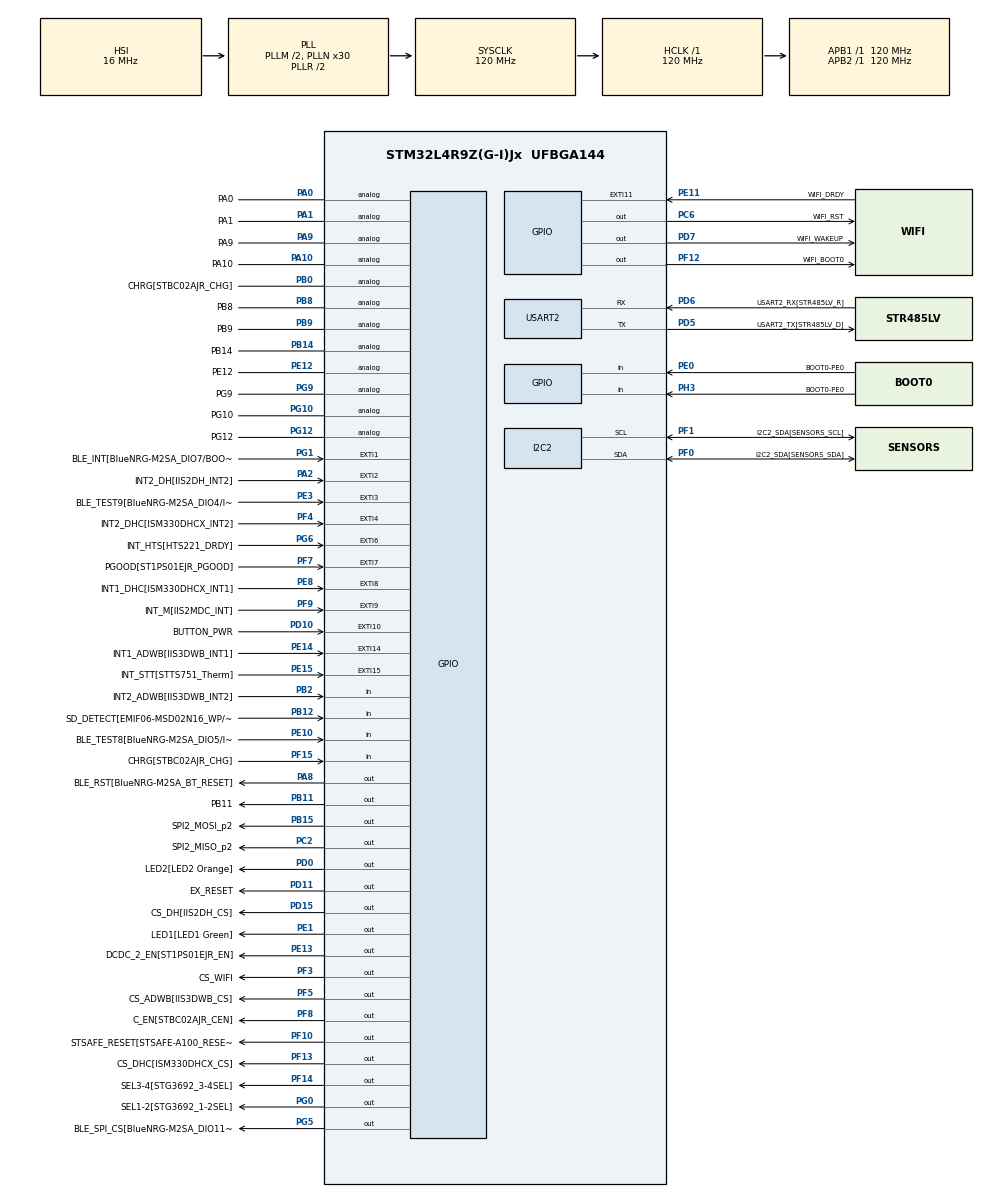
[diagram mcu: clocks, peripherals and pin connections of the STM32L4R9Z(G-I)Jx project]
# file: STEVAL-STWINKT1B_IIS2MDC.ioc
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I2C2.Timing=0x307075B1
Mcu.Family=STM32L4
Mcu.Name=STM32L4R9Z(G-I)Jx
Mcu.Package=UFBGA144
NVIC.EXTI9_5_IRQn=true\:0\:0\:false\:false\:true\:true\:true\:true
NVIC.PriorityGroup=NVIC_PRIORITYGROUP_4
PA0.GPIO_Label=PA0
PA0.Signal=GPIO_Analog
PA1.GPIO_Label=PA1
PA1.Signal=GPIO_Analog
PA10.GPIO_Label=PA10
PA10.Signal=GPIO_Analog
PA11.GPIO_Label=OTG_FS_DM[USBLC6-2P6_D2]
PA11.Signal=USB_OTG_FS_DM
PA12.GPIO_Label=OTG_FS_DP[USBLC6-2P6_D1]
PA12.Signal=USB_OTG_FS_DP
PA13\ (JTMS/SWDIO).GPIO_Label=SWDIO
PA13\ (JTMS/SWDIO).Signal=SYS_JTMS-SWDIO
PA14\ (JTCK/SWCLK).GPIO_Label=SWDCLK
PA14\ (JTCK/SWCLK).Signal=SYS_JTCK-SWCLK
PA15\ (JTDI).GPIO_Label=EX_PWM
PA15\ (JTDI).Signal=S_TIM2_CH1
PA2.GPIO_Label=INT2_DH[IIS2DH_INT2]
PA2.Signal=GPXTI2
PA4.GPIO_Label=DAC1_OUT1
PA4.Signal=COMP_DAC11_group
PA5.GPIO_Label=EX_ADC
PA5.Signal=ADCx_IN10
PA8.GPIO_Label=BLE_RST[BlueNRG-M2SA_BT_RESET]
PA8.Signal=GPIO_Output
PA9.GPIO_Label=PA9
PA9.Signal=GPIO_Analog
PB0.GPIO_Label=CHRG[STBC02AJR_CHG]
PB0.Signal=GPIO_Analog
PB1.GPIO_Label=USART3_RTS[STG3692_3S2]
PB1.Signal=USART3_RTS
PB10.GPIO_Label=DFSDM1_D7
PB10.GPIO_PuPd=GPIO_PULLDOWN
PB10.GPIO_Speed=GPIO_SPEED_FREQ_VERY_HIGH
PB10.Signal=S_DATAIN7DFSDM1
PB11.GPIO_Label=PB11
PB11.Signal=GPIO_Output
PB12.GPIO_Label=SD_DETECT[EMIF06-MSD02N16_WP/CD]
PB12.Signal=GPIO_Input
PB13.GPIO_Label=USART3_CTS
PB13.Signal=USART3_CTS
PB14.GPIO_Label=PB14
PB14.Signal=GPIO_Analog
PB15.GPIO_Label=SPI2_MOSI_p2
PB15.Signal=GPIO_Output
PB2.GPIO_Label=INT2_ADWB[IIS3DWB_INT2]
PB2.Signal=GPIO_Input
PB3\ (JTDO/TRACESWO).GPIO_Label=SPI3_CLK[SENSORS_SCL]
PB3\ (JTDO/TRACESWO).Signal=SPI3_SCK
PB4\ (NJTRST).GPIO_Label=SPI3_MISO[SENSORS_SDO]
PB4\ (NJTRST).Signal=SPI3_MISO
PB5.GPIO_Label=SPI3_MOSI[SENSORS_SDA]
PB5.Signal=SPI3_MOSI
PB6.GPIO_Label=DFSDM1_DATIN5[IMP34DT05_DOUT]
PB6.GPIO_PuPd=GPIO_PULLDOWN
PB6.GPIO_Speed=GPIO_SPEED_FREQ_VERY_HIGH
PB6.Signal=S_DATAIN5DFSDM1
PB8.GPIO_Label=PB8
PB8.Signal=GPIO_Analog
PB9.GPIO_Label=PB9
PB9.Signal=GPIO_Analog
PC0.GPIO_Label=ADC1_IN1[TS922EIJT_OUT2]
PC0.Signal=ADCx_IN1
PC1.GPIO_Label=ADC1_IN2[TS922EIJT_OUT1]
PC1.Signal=ADCx_IN2
PC10.GPIO_Label=SDMMC_D2[EMIF06-MSD02N16_DAT2_In]
PC10.Signal=SDMMC1_D2
PC11.GPIO_Label=SDMMC_D3[EMIF06-MSD02N16_DAT3_In]
PC11.Signal=SDMMC1_D3
PC12.GPIO_Label=SDMMC_CK[EMIF06-MSD02N16_CLK_In]
PC12.Signal=SDMMC1_CK
PC13.GPIO_Label=RTC_TAMP1
PC13.Signal=RTC_TAMP1
PC14-OSC32_IN\ (PC14).GPIO_Label=OSC32_IN
PC14-OSC32_IN\ (PC14).Signal=RCC_OSC32_IN
PC15-OSC32_OUT\ (PC15).GPIO_Label=OSC32_OUT
PC15-OSC32_OUT\ (PC15).Signal=RCC_OSC32_OUT
PC2.GPIO_Label=SPI2_MISO_p2
PC2.Signal=GPIO_Output
PC3.GPIO_Label=SPI2_MOSI[BlueNRG-M2SA_DIO3/SPI_MOSI]
PC3.Signal=SPI2_MOSI
PC4.GPIO_Label=uC_ADC_BATT[STBC02AJR_BATMS]
PC4.Signal=ADCx_IN13
PC5.GPIO_Label=PC5/WKUP5
PC5.Signal=SYS_WKUP5
PC6.GPIO_Label=WIFI_RST
PC6.Signal=GPIO_Output
PC8.GPIO_Label=SDMMC_D0[EMIF06-MSD02N16_DAT0_In]
PC8.Signal=SDMMC1_D0
PC9.GPIO_Label=SDMMC_D1[EMIF06-MSD02N16_DAT1_In]
PC9.Signal=SDMMC1_D1
PD0.GPIO_Label=LED2[LED2 Orange]
PD0.Signal=GPIO_Output
PD1.GPIO_Label=SPI2_CLK[BlueNRG-M2SA_DIO0/SPI_CLK]
PD1.Signal=SPI2_SCK
PD10.GPIO_Label=BUTTON_PWR
PD10.Signal=GPXTI10
PD11.GPIO_Label=EX_RESET 
PD11.Signal=GPIO_Output
PD12.GPIO_Label=I2C4_SCL
PD12.Signal=I2C4_SCL
PD13.GPIO_Label=I2C4_SDA
PD13.Signal=I2C4_SDA
PD15.GPIO_Label=CS_DH[IIS2DH_CS]
PD15.PinState=GPIO_PIN_SET
PD15.Signal=GPIO_Output
PD2.GPIO_Label=SDMMC_CMD[EMIF06-MSD02N16_CMD_In]
PD2.Signal=SDMMC1_CMD
PD3.GPIO_Label=SPI2_MISO[BlueNRG-M2SA_DIO2/SPI_MISO]
PD3.Signal=SPI2_MISO
PD4.GPIO_Label=USART2_RTS[STR485LV_DE]
PD4.Signal=USART2_RTS
PD5.GPIO_Label=USART2_TX[STR485LV_D]
PD5.Mode=Asynchronous
PD5.Signal=USART2_TX
PD6.GPIO_Label=USART2_RX[STR485LV_R]
PD6.Mode=Asynchronous
PD6.Signal=USART2_RX
PD7.GPIO_Label=WIFI_WAKEUP
PD7.Signal=GPIO_Output
PD8.GPIO_Label=USART3_TX[STG3692_1S1]
PD8.Signal=USART3_TX
PD9.GPIO_Label=USART3_RX[STG3692_2S1]
PD9.Signal=USART3_RX
PE0.GPIO_Label=BOOT0-PE0
PE0.Signal=GPIO_Input
PE1.GPIO_Label=LED1[LED1 Green]
PE1.Signal=GPIO_Output
PE10.GPIO_Label=BLE_TEST8[BlueNRG-M2SA_DIO5/I2C_SDA]
PE10.Signal=GPIO_Input
PE11.GPIO_Label=WIFI_DRDY
PE11.Signal=GPXTI11
PE12.GPIO_Label=PE12
PE12.Signal=GPIO_Analog
PE13.GPIO_Label=DCDC_2_EN[ST1PS01EJR_EN]
PE13.Signal=GPIO_Output
PE14.GPIO_Label=INT1_ADWB[IIS3DWB_INT1]
PE14.Signal=GPXTI14
PE15.GPIO_Label=INT_STT[STTS751_Therm]
PE15.Signal=GPXTI15
PE2.GPIO_Label=SAI1_MCLK_A
PE2.Signal=SAI1_MCLK_A
PE3.GPIO_Label=BLE_TEST9[BlueNRG-M2SA_DIO4/I2C_CLK]
PE3.Signal=GPXTI3
PE4.GPIO_Label=SAI1_FS_A/DFSDM_D3
PE4.Signal=SAI1_FS_A
PE5.GPIO_Label=SAI1_SCK_A
PE5.Signal=SAI1_SCK_A
PE6.GPIO_Label=SAI1_SD_A
PE6.Signal=SAI1_SD_A
PE7.GPIO_Label=SAI1_SD_B
PE7.Signal=SAI1_SD_B
PE8.GPIO_Label=INT1_DHC[ISM330DHCX_INT1]
PE8.Signal=GPXTI8
PE9.GPIO_Label=DFSDM1_CKOUT[IMP34DT05_CLK]
PE9.GPIO_PuPd=GPIO_PULLDOWN
PE9.GPIO_Speed=GPIO_SPEED_FREQ_VERY_HIGH
PE9.Signal=S_CKOUTDFSDM1
PF0.GPIO_Label=I2C2_SDA[SENSORS_SDA]
PF0.Mode=I2C
PF0.Signal=I2C2_SDA
PF1.GPIO_Label=I2C2_SDA[SENSORS_SCL]
PF1.Mode=I2C
PF1.Signal=I2C2_SCL
PF10.GPIO_Label=STSAFE_RESET[STSAFE-A100_RESET]
PF10.Signal=GPIO_Output
PF12.GPIO_Label=WIFI_BOOT0
PF12.Signal=GPIO_Output
PF13.GPIO_Label=CS_DHC[ISM330DHCX_CS]
PF13.GPIO_Speed=GPIO_SPEED_FREQ_HIGH
PF13.PinState=GPIO_PIN_SET
PF13.Signal=GPIO_Output
PF14.GPIO_Label=SEL3-4[STG3692_3-4SEL]
PF14.Signal=GPIO_Output
PF15.GPIO_Label=CHRG[STBC02AJR_CHG]
PF15.Signal=GPIO_Input
PF2.GPIO_Label=I2C2_SMBA[STTS751_EV]
PF2.Signal=I2C2_SMBA
PF3.GPIO_Label=CS_WIFI
PF3.PinState=GPIO_PIN_SET
PF3.Signal=GPIO_Output
PF4.GPIO_Label=INT2_DHC[ISM330DHCX_INT2]
PF4.Signal=GPXTI4
PF5.GPIO_Label=CS_ADWB[IIS3DWB_CS]
PF5.PinState=GPIO_PIN_SET
PF5.Signal=GPIO_Output
PF6.GPIO_Label=SW_SEL[STBC02AJR_SW_SEL]
PF6.GPIO_Speed=GPIO_SPEED_FREQ_HIGH
PF6.Signal=S_TIM5_CH1
PF7.GPIO_Label=PGOOD[ST1PS01EJR_PGOOD]
PF7.Signal=GPXTI7
PF8.GPIO_Label=C_EN[STBC02AJR_CEN]
PF8.Signal=GPIO_Output
PF9.GPIO_Label=INT_M[IIS2MDC_INT]
PF9.Signal=GPXTI9
PG0.GPIO_Label=SEL1-2[STG3692_1-2SEL]
PG0.Signal=GPIO_Output
PG1.GPIO_Label=BLE_INT[BlueNRG-M2SA_DIO7/BOOT/UART_CTS]
PG1.Signal=GPXTI1
PG10.GPIO_Label=PG10
PG10.Signal=GPIO_Analog
PG12.GPIO_Label=PG12
PG12.Signal=GPIO_Analog
PG2.GPIO_Label=SPI1_CLK
PG2.Signal=SPI1_SCK
PG3.GPIO_Label=SPI1_MISO
PG3.Signal=SPI1_MISO
PG4.GPIO_Label=SPI1_MOSI
PG4.Signal=SPI1_MOSI
PG5.GPIO_Label=BLE_SPI_CS[BlueNRG-M2SA_DIO11/UART_RXD]
PG5.Signal=GPIO_Output
PG6.GPIO_Label=INT_HTS[HTS221_DRDY]
PG6.Signal=GPXTI6
PG7.GPIO_Label=I2C3_SCL[STSAFE-A110_SCL]
PG7.Signal=I2C3_SCL
PG8.GPIO_Label=I2C3_SDA[STSAFE-A110_SDA]
PG8.Signal=I2C3_SDA
PG9.GPIO_Label=PG9
PG9.Signal=GPIO_Analog
PH0-OSC_IN\ (PH0).GPIO_Label=OSC_IN
PH0-OSC_IN\ (PH0).Signal=RCC_OSC_IN
PH1-OSC_OUT\ (PH1).GPIO_Label=OSC_OUT
PH1-OSC_OUT\ (PH1).Signal=RCC_OSC_OUT
PH3-BOOT0.GPIO_Label=BOOT0-PE0
PH3-BOOT0.Signal=GPIO_Input
ProjectManager.HeapSize=0x200
ProjectManager.StackSize=0x400
ProjectManager.TargetToolchain=Makefile
RCC.ADCFreq_Value=76800000
RCC.AHBFreq_Value=120000000
RCC.APB1Freq_Value=120000000
RCC.APB1TimFreq_Value=120000000
RCC.APB2Freq_Value=120000000
RCC.APB2TimFreq_Value=120000000
RCC.CK48CLockSelection=RCC_USBCLKSOURCE_HSI48
RCC.CortexFreq_Value=120000000
RCC.DSITX_Div=1
RCC.HCLKFreq_Value=120000000
RCC.HSE_VALUE=16000000
RCC.HSI48_VALUE=48000000
RCC.HSI_VALUE=16000000
RCC.LSE_VALUE=32768
RCC.MSI_VALUE=4000000
RCC.PLLDSIODF=DSI_PLL_OUT_DIV2
RCC.PLLM1=2
RCC.PLLM2=5
RCC.PLLM3=2
RCC.PLLN=30
RCC.PLLSAI1N=96
RCC.PLLSAI1P=RCC_PLLP_DIV25
RCC.PLLSAI1Q=RCC_PLLQ_DIV4
RCC.PLLSAI1R=RCC_PLLR_DIV4
RCC.PLLSourceVirtual=RCC_PLLSOURCE_HSI
RCC.RTCClockSelection=RCC_RTCCLKSOURCE_LSE
RCC.SDMMCClockSelection=RCC_SDIOCLKSOURCE_CLK48
RCC.SYSCLKFreq_VALUE=120000000
RCC.SYSCLKSource=RCC_SYSCLKSOURCE_PLLCLK
RCC.USBFreq_Value=48000000
RCC.VCOOutputFreq_Value=240000000
SH.ADCx_IN1.0=ADC1_IN1
SH.ADCx_IN10.0=ADC1_IN10
SH.ADCx_IN13.0=ADC1_IN13
SH.ADCx_IN2.0=ADC1_IN2
SH.COMP_DAC11_group.0=DAC1_OUT1
SH.S_CKOUTDFSDM1.0=DFSDM1_CKOUT
SH.S_DATAIN5DFSDM1.0=DFSDM1_DATIN5
SH.S_DATAIN7DFSDM1.0=DFSDM1_DATIN7
SH.S_TIM2_CH1.0=TIM2_CH1
SH.S_TIM5_CH1.0=TIM5_CH1
USART2.VirtualMode-Asynchronous=VM_ASYNC
board=STEVAL-STWINKT1B

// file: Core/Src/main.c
/* USER CODE BEGIN Header */
/**
  ******************************************************************************
  * @file           : main.c
  * @brief          : Main program body
  ******************************************************************************
  * @attention
  *
  * Copyright (c) 2022 STMicroelectronics.
  * All rights reserved.
  *
  * This software is licensed under terms that can be found in the LICENSE file
  * in the root directory of this software component.
  * If no LICENSE file comes with this software, it is provided AS-IS.
  *
  ******************************************************************************
  */
/* USER CODE END Header */
#include "main.h"

/* USER CODE BEGIN Includes */
#include <string.h>
#include <stdio.h>
#include <iis2mdc_reg.h>
#include <cycle_dwt.h>
#include "NanoEdgeAI.h"

/* USER CODE END Includes */

/* USER CODE BEGIN PD */
/************************************************************ NEAI algorithm defines begin ************************************************************/
/************************************************************ Global settings part ************************************************************/
#ifndef AXIS
  #define AXIS              3                   /* Axis should be defined between 1 and 3 */
#endif
#ifndef SAMPLES
  #define SAMPLES           128                 /* Should be between 16 & 4096 */
#endif
/************************************************************ Sensors configuration part ************************************************************/
#ifndef MAGNETOMETER_ODR
  #define MAGNETOMETER_ODR  IIS2MDC_ODR_100Hz   /* Shoud be between IIS2MDC_ODR_10Hz and IIS2MDC_ODR_100Hz */
#endif
/************************************************************ Datalogger / NEAI mode part ************************************************************/
#ifndef NEAI_MODE
  #define NEAI_MODE         0                   /* 0: Datalogger mode, 1: NEAI functions mode */
#endif
#if (NEAI_MODE == 1)
  #ifndef NEAI_LEARN_NB
    #define NEAI_LEARN_NB   20                  /* Number of buffers to be learn by the NEAI library */
  #endif
#endif
/************************************************************ NEAI algorithm defines end ************************************************************/
/* USER CODE END PD */

 I2C_HandleTypeDef hi2c2;

UART_HandleTypeDef huart2;

/* USER CODE BEGIN PV */
static int16_t data_raw_magnetic[3];
static uint8_t whoamI, rst;
uint8_t neai_similarity = 0, neai_state = 0;
volatile uint8_t drdy = 0;
uint16_t neai_cnt = 0, drdy_counter = 0;
float neai_time = 0.0;
float neai_buffer[AXIS * SAMPLES] = {0};
stmdev_ctx_t dev_ctx;

/* USER CODE END PV */

void SystemClock_Config(void);
static void MX_GPIO_Init(void);
static void MX_USART2_UART_Init(void);
static void MX_I2C2_Init(void);
/* USER CODE BEGIN PFP */
static int32_t platform_write(void *handle, uint8_t reg, const uint8_t *bufp, uint16_t len);
static int32_t platform_read(void *handle, uint8_t reg, uint8_t *bufp, uint16_t len);
static void iis2mdc_initialize(void);

/* USER CODE END PFP */

int main(void)
{
  /* USER CODE BEGIN 1 */
  /* Initialize mems driver interface */
  dev_ctx.write_reg = platform_write;
  dev_ctx.read_reg = platform_read;
  dev_ctx.handle = &hi2c2;
  /* USER CODE END 1 */

  /* MCU Configuration--------------------------------------------------------*/

  /* Reset of all peripherals, Initializes the Flash interface and the Systick. */
  HAL_Init();

  /* Configure the system clock */
  SystemClock_Config();

  /* Initialize all configured peripherals */
  MX_GPIO_Init();
  MX_USART2_UART_Init();
  MX_I2C2_Init();
  /* USER CODE BEGIN 2 */
  KIN1_InitCycleCounter();
  KIN1_EnableCycleCounter();
  iis2mdc_initialize();
  if (NEAI_MODE) {
    neai_state = neai_anomalydetection_init();
    printf("Initialize NEAI library. NEAI init return: %d.\n",  neai_state);
  }
  /* USER CODE END 2 */

  /* Infinite loop */
  /* USER CODE BEGIN WHILE */
  while (1)
  {
    if (drdy) {
      /* Reset data ready condition */
      drdy = 0;
      /* Read magnetic field data */
      memset(data_raw_magnetic, 0x00, 3 * sizeof(int16_t));
      iis2mdc_magnetic_raw_get(&dev_ctx, data_raw_magnetic);
      for (uint8_t i = 0; i < AXIS; i++) {
        neai_buffer[(AXIS * drdy_counter) + i] = iis2mdc_from_lsb_to_mgauss(data_raw_magnetic[i]);
      }
      drdy_counter++;
      if (drdy_counter >= SAMPLES) {
        /* Set device in power down mode */
        iis2mdc_operating_mode_set(&dev_ctx, IIS2MDC_POWER_DOWN);
#if NEAI_MODE
        uint32_t cycles_cnt = 0;
        if (neai_cnt < NEAI_LEARN_NB) {
          neai_cnt++;
          KIN1_ResetCycleCounter();
          neai_state = neai_anomalydetection_learn(neai_buffer);
          cycles_cnt = KIN1_GetCycleCounter();
          neai_time = (cycles_cnt * 1000000.0) / HAL_RCC_GetSysClockFreq();
          printf("Learn: %d / %d. NEAI learn return: %d. Cycles counter: %ld = %.1f µs at %ld Hz.\n",
                neai_cnt, NEAI_LEARN_NB, neai_state, cycles_cnt, neai_time, HAL_RCC_GetSysClockFreq());
        }
        else {
          KIN1_ResetCycleCounter();
          neai_state = neai_anomalydetection_detect(neai_buffer, &neai_similarity);
          cycles_cnt = KIN1_GetCycleCounter();
          neai_time = (cycles_cnt * 1000000.0) / HAL_RCC_GetSysClockFreq();
          printf("Similarity: %d / 100. NEAI detect return: %d. Cycles counter: %ld = %.1f µs at %ld Hz.\n",
                neai_similarity, neai_state, cycles_cnt, neai_time, HAL_RCC_GetSysClockFreq());
        }
#else
        for (uint16_t i = 0; i < AXIS * SAMPLES; i++) {
          printf("%.3f ", neai_buffer[i]);
        }
        printf("\n");
#endif
        /* Reset drdy_counter in order to get a new buffer */
        drdy_counter = 0;
        /* Clean neai buffer */
        memset(neai_buffer, 0x00, AXIS * SAMPLES * sizeof(float));
        /* Set device in continuous mode */
        iis2mdc_operating_mode_set(&dev_ctx, IIS2MDC_CONTINUOUS_MODE);
        HAL_Delay(20);
      }
    }
    /* USER CODE END WHILE */

  }
}

void SystemClock_Config(void)
{
  RCC_OscInitTypeDef RCC_OscInitStruct = {0};
  RCC_ClkInitTypeDef RCC_ClkInitStruct = {0};

  /** Configure the main internal regulator output voltage
  */
  if (HAL_PWREx_ControlVoltageScaling(PWR_REGULATOR_VOLTAGE_SCALE1_BOOST) != HAL_OK)
  {
    Error_Handler();
  }

  /** Initializes the RCC Oscillators according to the specified parameters
  * in the RCC_OscInitTypeDef structure.
  */
  RCC_OscInitStruct.OscillatorType = RCC_OSCILLATORTYPE_HSI;
  RCC_OscInitStruct.HSIState = RCC_HSI_ON;
  RCC_OscInitStruct.HSICalibrationValue = RCC_HSICALIBRATION_DEFAULT;
  RCC_OscInitStruct.PLL.PLLState = RCC_PLL_ON;
  RCC_OscInitStruct.PLL.PLLSource = RCC_PLLSOURCE_HSI;
  RCC_OscInitStruct.PLL.PLLM = 2;
  RCC_OscInitStruct.PLL.PLLN = 30;
  RCC_OscInitStruct.PLL.PLLP = RCC_PLLP_DIV2;
  RCC_OscInitStruct.PLL.PLLQ = RCC_PLLQ_DIV2;
  RCC_OscInitStruct.PLL.PLLR = RCC_PLLR_DIV2;
  if (HAL_RCC_OscConfig(&RCC_OscInitStruct) != HAL_OK)
  {
    Error_Handler();
  }

  /** Initializes the CPU, AHB and APB buses clocks
  */
  RCC_ClkInitStruct.ClockType = RCC_CLOCKTYPE_HCLK|RCC_CLOCKTYPE_SYSCLK
                              |RCC_CLOCKTYPE_PCLK1|RCC_CLOCKTYPE_PCLK2;
  RCC_ClkInitStruct.SYSCLKSource = RCC_SYSCLKSOURCE_PLLCLK;
  RCC_ClkInitStruct.AHBCLKDivider = RCC_SYSCLK_DIV1;
  RCC_ClkInitStruct.APB1CLKDivider = RCC_HCLK_DIV1;
  RCC_ClkInitStruct.APB2CLKDivider = RCC_HCLK_DIV1;

  if (HAL_RCC_ClockConfig(&RCC_ClkInitStruct, FLASH_LATENCY_5) != HAL_OK)
  {
    Error_Handler();
  }
}

static void MX_I2C2_Init(void)
{

  hi2c2.Instance = I2C2;
  hi2c2.Init.Timing = 0x307075B1;
  hi2c2.Init.OwnAddress1 = 0;
  hi2c2.Init.AddressingMode = I2C_ADDRESSINGMODE_7BIT;
  hi2c2.Init.DualAddressMode = I2C_DUALADDRESS_DISABLE;
  hi2c2.Init.OwnAddress2 = 0;
  hi2c2.Init.OwnAddress2Masks = I2C_OA2_NOMASK;
  hi2c2.Init.GeneralCallMode = I2C_GENERALCALL_DISABLE;
  hi2c2.Init.NoStretchMode = I2C_NOSTRETCH_DISABLE;
  if (HAL_I2C_Init(&hi2c2) != HAL_OK)
  {
    Error_Handler();
  }

  /** Configure Analogue filter
  */
  if (HAL_I2CEx_ConfigAnalogFilter(&hi2c2, I2C_ANALOGFILTER_ENABLE) != HAL_OK)
  {
    Error_Handler();
  }

  /** Configure Digital filter
  */
  if (HAL_I2CEx_ConfigDigitalFilter(&hi2c2, 0) != HAL_OK)
  {
    Error_Handler();
  }

}

static void MX_USART2_UART_Init(void)
{

  huart2.Instance = USART2;
  huart2.Init.BaudRate = 115200;
  huart2.Init.WordLength = UART_WORDLENGTH_8B;
  huart2.Init.StopBits = UART_STOPBITS_1;
  huart2.Init.Parity = UART_PARITY_NONE;
  huart2.Init.Mode = UART_MODE_TX_RX;
  huart2.Init.HwFlowCtl = UART_HWCONTROL_NONE;
  huart2.Init.OverSampling = UART_OVERSAMPLING_16;
  huart2.Init.OneBitSampling = UART_ONE_BIT_SAMPLE_DISABLE;
  huart2.Init.ClockPrescaler = UART_PRESCALER_DIV1;
  huart2.AdvancedInit.AdvFeatureInit = UART_ADVFEATURE_NO_INIT;
  if (HAL_UART_Init(&huart2) != HAL_OK)
  {
    Error_Handler();
  }
  if (HAL_UARTEx_SetTxFifoThreshold(&huart2, UART_TXFIFO_THRESHOLD_1_8) != HAL_OK)
  {
    Error_Handler();
  }
  if (HAL_UARTEx_SetRxFifoThreshold(&huart2, UART_RXFIFO_THRESHOLD_1_8) != HAL_OK)
  {
    Error_Handler();
  }
  if (HAL_UARTEx_DisableFifoMode(&huart2) != HAL_OK)
  {
    Error_Handler();
  }

}

static void MX_GPIO_Init(void)
{
  GPIO_InitTypeDef GPIO_InitStruct = {0};

  /* GPIO Ports Clock Enable */
  __HAL_RCC_GPIOE_CLK_ENABLE();
  __HAL_RCC_GPIOB_CLK_ENABLE();
  __HAL_RCC_GPIOH_CLK_ENABLE();
  __HAL_RCC_GPIOD_CLK_ENABLE();
  __HAL_RCC_GPIOC_CLK_ENABLE();
  __HAL_RCC_GPIOA_CLK_ENABLE();
  __HAL_RCC_GPIOG_CLK_ENABLE();
  HAL_PWREx_EnableVddIO2();
  __HAL_RCC_GPIOF_CLK_ENABLE();

  /*Configure GPIO pin Output Level */
  HAL_GPIO_WritePin(GPIOE, LED1_Pin|DCDC_2_EN_Pin, GPIO_PIN_RESET);

  /*Configure GPIO pin Output Level */
  HAL_GPIO_WritePin(GPIOD, LED2_Pin|WIFI_WAKEUP_Pin|EX_RESET_Pin, GPIO_PIN_RESET);

  /*Configure GPIO pin Output Level */
  HAL_GPIO_WritePin(BLE_RST_GPIO_Port, BLE_RST_Pin, GPIO_PIN_RESET);

  /*Configure GPIO pin Output Level */
  HAL_GPIO_WritePin(GPIOC, WIFI_RST_Pin|SPI2_MISO_p2_Pin, GPIO_PIN_RESET);

  /*Configure GPIO pin Output Level */
  HAL_GPIO_WritePin(GPIOF, CS_WIFI_Pin|CS_ADWB_Pin|CS_DHC_Pin, GPIO_PIN_SET);

  /*Configure GPIO pin Output Level */
  HAL_GPIO_WritePin(GPIOF, C_EN_Pin|STSAFE_RESET_Pin|WIFI_BOOT0_Pin|SEL3_4_Pin, GPIO_PIN_RESET);

  /*Configure GPIO pin Output Level */
  HAL_GPIO_WritePin(GPIOG, BLE_SPI_CS_Pin|SEL1_2_Pin, GPIO_PIN_RESET);

  /*Configure GPIO pin Output Level */
  HAL_GPIO_WritePin(CS_DH_GPIO_Port, CS_DH_Pin, GPIO_PIN_SET);

  /*Configure GPIO pin Output Level */
  HAL_GPIO_WritePin(GPIOB, SPI2_MOSI_p2_Pin|PB11_Pin, GPIO_PIN_RESET);

  /*Configure GPIO pins : BOOT0_PE0_Pin BLE_TEST8_Pin */
  GPIO_InitStruct.Pin = BOOT0_PE0_Pin|BLE_TEST8_Pin;
  GPIO_InitStruct.Mode = GPIO_MODE_INPUT;
  GPIO_InitStruct.Pull = GPIO_NOPULL;
  HAL_GPIO_Init(GPIOE, &GPIO_InitStruct);

  /*Configure GPIO pins : PB9_Pin PB8_Pin PB14_Pin CHRGB0_Pin */
  GPIO_InitStruct.Pin = PB9_Pin|PB8_Pin|PB14_Pin|CHRGB0_Pin;
  GPIO_InitStruct.Mode = GPIO_MODE_ANALOG;
  GPIO_InitStruct.Pull = GPIO_NOPULL;
  HAL_GPIO_Init(GPIOB, &GPIO_InitStruct);

  /*Configure GPIO pin : BOOT0_PE0H3_Pin */
  GPIO_InitStruct.Pin = BOOT0_PE0H3_Pin;
  GPIO_InitStruct.Mode = GPIO_MODE_INPUT;
  GPIO_InitStruct.Pull = GPIO_NOPULL;
  HAL_GPIO_Init(BOOT0_PE0H3_GPIO_Port, &GPIO_InitStruct);

  /*Configure GPIO pins : SPI3_MISO_Pin SPI3_MOSI_Pin SPI3_CLK_Pin */
  GPIO_InitStruct.Pin = SPI3_MISO_Pin|SPI3_MOSI_Pin|SPI3_CLK_Pin;
  GPIO_InitStruct.Mode = GPIO_MODE_AF_PP;
  GPIO_InitStruct.Pull = GPIO_NOPULL;
  GPIO_InitStruct.Speed = GPIO_SPEED_FREQ_VERY_HIGH;
  GPIO_InitStruct.Alternate = GPIO_AF6_SPI3;
  HAL_GPIO_Init(GPIOB, &GPIO_InitStruct);

  /*Configure GPIO pins : SPI2_MISO_Pin SPI2_CLK_Pin */
  GPIO_InitStruct.Pin = SPI2_MISO_Pin|SPI2_CLK_Pin;
  GPIO_InitStruct.Mode = GPIO_MODE_AF_PP;
  GPIO_InitStruct.Pull = GPIO_NOPULL;
  GPIO_InitStruct.Speed = GPIO_SPEED_FREQ_VERY_HIGH;
  GPIO_InitStruct.Alternate = GPIO_AF5_SPI2;
  HAL_GPIO_Init(GPIOD, &GPIO_InitStruct);

  /*Configure GPIO pins : SDMMC_D3_Pin SDMMC_D2_Pin SDMMC_D1_Pin SDMMC_CK_Pin
                           SDMMC_D0_Pin */
  GPIO_InitStruct.Pin = SDMMC_D3_Pin|SDMMC_D2_Pin|SDMMC_D1_Pin|SDMMC_CK_Pin
                          |SDMMC_D0_Pin;
  GPIO_InitStruct.Mode = GPIO_MODE_AF_PP;
  GPIO_InitStruct.Pull = GPIO_NOPULL;
  GPIO_InitStruct.Speed = GPIO_SPEED_FREQ_VERY_HIGH;
  GPIO_InitStruct.Alternate = GPIO_AF12_SDMMC1;
  HAL_GPIO_Init(GPIOC, &GPIO_InitStruct);

  /*Configure GPIO pins : BLE_TEST9_Pin WIFI_DRDY_Pin INT1_DHC_Pin INT_STT_Pin
                           INT1_ADWB_Pin */
  GPIO_InitStruct.Pin = BLE_TEST9_Pin|WIFI_DRDY_Pin|INT1_DHC_Pin|INT_STT_Pin
                          |INT1_ADWB_Pin;
  GPIO_InitStruct.Mode = GPIO_MODE_IT_RISING;
  GPIO_InitStruct.Pull = GPIO_NOPULL;
  HAL_GPIO_Init(GPIOE, &GPIO_InitStruct);

  /*Configure GPIO pin : EX_PWM_Pin */
  GPIO_InitStruct.Pin = EX_PWM_Pin;
  GPIO_InitStruct.Mode = GPIO_MODE_AF_PP;
  GPIO_InitStruct.Pull = GPIO_NOPULL;
  GPIO_InitStruct.Speed = GPIO_SPEED_FREQ_LOW;
  GPIO_InitStruct.Alternate = GPIO_AF1_TIM2;
  HAL_GPIO_Init(EX_PWM_GPIO_Port, &GPIO_InitStruct);

  /*Configure GPIO pins : OTG_FS_DP_Pin OTG_FS_DM_Pin */
  GPIO_InitStruct.Pin = OTG_FS_DP_Pin|OTG_FS_DM_Pin;
  GPIO_InitStruct.Mode = GPIO_MODE_AF_PP;
  GPIO_InitStruct.Pull = GPIO_NOPULL;
  GPIO_InitStruct.Speed = GPIO_SPEED_FREQ_VERY_HIGH;
  GPIO_InitStruct.Alternate = GPIO_AF10_OTG_FS;
  HAL_GPIO_Init(GPIOA, &GPIO_InitStruct);

  /*Configure GPIO pins : SAI1_SCK_A_Pin SAI1_MCLK_A_Pin SAI1_FS_A_DFSDM_D3_Pin SAI1_SD_A_Pin
                           SAI1_SD_B_Pin */
  GPIO_InitStruct.Pin = SAI1_SCK_A_Pin|SAI1_MCLK_A_Pin|SAI1_FS_A_DFSDM_D3_Pin|SAI1_SD_A_Pin
                          |SAI1_SD_B_Pin;
  GPIO_InitStruct.Mode = GPIO_MODE_AF_PP;
  GPIO_InitStruct.Pull = GPIO_NOPULL;
  GPIO_InitStruct.Speed = GPIO_SPEED_FREQ_LOW;
  GPIO_InitStruct.Alternate = GPIO_AF13_SAI1;
  HAL_GPIO_Init(GPIOE, &GPIO_InitStruct);

  /*Configure GPIO pins : LED1_Pin DCDC_2_EN_Pin */
  GPIO_InitStruct.Pin = LED1_Pin|DCDC_2_EN_Pin;
  GPIO_InitStruct.Mode = GPIO_MODE_OUTPUT_PP;
  GPIO_InitStruct.Pull = GPIO_NOPULL;
  GPIO_InitStruct.Speed = GPIO_SPEED_FREQ_LOW;
  HAL_GPIO_Init(GPIOE, &GPIO_InitStruct);

  /*Configure GPIO pins : LED2_Pin WIFI_WAKEUP_Pin CS_DH_Pin EX_RESET_Pin */
  GPIO_InitStruct.Pin = LED2_Pin|WIFI_WAKEUP_Pin|CS_DH_Pin|EX_RESET_Pin;
  GPIO_InitStruct.Mode = GPIO_MODE_OUTPUT_PP;
  GPIO_InitStruct.Pull = GPIO_NOPULL;
  GPIO_InitStruct.Speed = GPIO_SPEED_FREQ_LOW;
  HAL_GPIO_Init(GPIOD, &GPIO_InitStruct);

  /*Configure GPIO pins : PA10_Pin PA9_Pin PA0_Pin DAC1_OUT1_Pin
                           PA1_Pin */
  GPIO_InitStruct.Pin = PA10_Pin|PA9_Pin|PA0_Pin|DAC1_OUT1_Pin
                          |PA1_Pin;
  GPIO_InitStruct.Mode = GPIO_MODE_ANALOG;
  GPIO_InitStruct.Pull = GPIO_NOPULL;
  HAL_GPIO_Init(GPIOA, &GPIO_InitStruct);

  /*Configure GPIO pins : DFSDM1_DATIN5_Pin DFSDM1_D7_Pin */
  GPIO_InitStruct.Pin = DFSDM1_DATIN5_Pin|DFSDM1_D7_Pin;
  GPIO_InitStruct.Mode = GPIO_MODE_AF_PP;
  GPIO_InitStruct.Pull = GPIO_PULLDOWN;
  GPIO_InitStruct.Speed = GPIO_SPEED_FREQ_VERY_HIGH;
  GPIO_InitStruct.Alternate = GPIO_AF6_DFSDM1;
  HAL_GPIO_Init(GPIOB, &GPIO_InitStruct);

  /*Configure GPIO pins : PG12_Pin PG10_Pin PG9_Pin */
  GPIO_InitStruct.Pin = PG12_Pin|PG10_Pin|PG9_Pin;
  GPIO_InitStruct.Mode = GPIO_MODE_ANALOG;
  GPIO_InitStruct.Pull = GPIO_NOPULL;
  HAL_GPIO_Init(GPIOG, &GPIO_InitStruct);

  /*Configure GPIO pin : SDMMC_CMD_Pin */
  GPIO_InitStruct.Pin = SDMMC_CMD_Pin;
  GPIO_InitStruct.Mode = GPIO_MODE_AF_PP;
  GPIO_InitStruct.Pull = GPIO_NOPULL;
  GPIO_InitStruct.Speed = GPIO_SPEED_FREQ_VERY_HIGH;
  GPIO_InitStruct.Alternate = GPIO_AF12_SDMMC1;
  HAL_GPIO_Init(SDMMC_CMD_GPIO_Port, &GPIO_InitStruct);

  /*Configure GPIO pin : BLE_RST_Pin */
  GPIO_InitStruct.Pin = BLE_RST_Pin;
  GPIO_InitStruct.Mode = GPIO_MODE_OUTPUT_PP;
  GPIO_InitStruct.Pull = GPIO_NOPULL;
  GPIO_InitStruct.Speed = GPIO_SPEED_FREQ_LOW;
  HAL_GPIO_Init(BLE_RST_GPIO_Port, &GPIO_InitStruct);

  /*Configure GPIO pins : WIFI_RST_Pin SPI2_MISO_p2_Pin */
  GPIO_InitStruct.Pin = WIFI_RST_Pin|SPI2_MISO_p2_Pin;
  GPIO_InitStruct.Mode = GPIO_MODE_OUTPUT_PP;
  GPIO_InitStruct.Pull = GPIO_NOPULL;
  GPIO_InitStruct.Speed = GPIO_SPEED_FREQ_LOW;
  HAL_GPIO_Init(GPIOC, &GPIO_InitStruct);

  /*Configure GPIO pins : CS_WIFI_Pin C_EN_Pin CS_ADWB_Pin STSAFE_RESET_Pin
                           WIFI_BOOT0_Pin SEL3_4_Pin */
  GPIO_InitStruct.Pin = CS_WIFI_Pin|C_EN_Pin|CS_ADWB_Pin|STSAFE_RESET_Pin
                          |WIFI_BOOT0_Pin|SEL3_4_Pin;
  GPIO_InitStruct.Mode = GPIO_MODE_OUTPUT_PP;
  GPIO_InitStruct.Pull = GPIO_NOPULL;
  GPIO_InitStruct.Speed = GPIO_SPEED_FREQ_LOW;
  HAL_GPIO_Init(GPIOF, &GPIO_InitStruct);

  /*Configure GPIO pins : I2C3_SDA_Pin I2C3_SCL_Pin */
  GPIO_InitStruct.Pin = I2C3_SDA_Pin|I2C3_SCL_Pin;
  GPIO_InitStruct.Mode = GPIO_MODE_AF_OD;
  GPIO_InitStruct.Pull = GPIO_NOPULL;
  GPIO_InitStruct.Speed = GPIO_SPEED_FREQ_VERY_HIGH;
  GPIO_InitStruct.Alternate = GPIO_AF4_I2C3;
  HAL_GPIO_Init(GPIOG, &GPIO_InitStruct);

  /*Configure GPIO pin : SW_SEL_Pin */
  GPIO_InitStruct.Pin = SW_SEL_Pin;
  GPIO_InitStruct.Mode = GPIO_MODE_AF_PP;
  GPIO_InitStruct.Pull = GPIO_NOPULL;
  GPIO_InitStruct.Speed = GPIO_SPEED_FREQ_HIGH;
  GPIO_InitStruct.Alternate = GPIO_AF2_TIM5;
  HAL_GPIO_Init(SW_SEL_GPIO_Port, &GPIO_InitStruct);

  /*Configure GPIO pins : INT2_DHC_Pin PGOOD_Pin INT_M_Pin */
  GPIO_InitStruct.Pin = INT2_DHC_Pin|PGOOD_Pin|INT_M_Pin;
  GPIO_InitStruct.Mode = GPIO_MODE_IT_RISING;
  GPIO_InitStruct.Pull = GPIO_NOPULL;
  HAL_GPIO_Init(GPIOF, &GPIO_InitStruct);

  /*Configure GPIO pins : SPI1_MISO_Pin SPI1_MOSI_Pin SPI1_CLK_Pin */
  GPIO_InitStruct.Pin = SPI1_MISO_Pin|SPI1_MOSI_Pin|SPI1_CLK_Pin;
  GPIO_InitStruct.Mode = GPIO_MODE_AF_PP;
  GPIO_InitStruct.Pull = GPIO_NOPULL;
  GPIO_InitStruct.Speed = GPIO_SPEED_FREQ_VERY_HIGH;
  GPIO_InitStruct.Alternate = GPIO_AF5_SPI1;
  HAL_GPIO_Init(GPIOG, &GPIO_InitStruct);

  /*Configure GPIO pins : BLE_SPI_CS_Pin SEL1_2_Pin */
  GPIO_InitStruct.Pin = BLE_SPI_CS_Pin|SEL1_2_Pin;
  GPIO_InitStruct.Mode = GPIO_MODE_OUTPUT_PP;
  GPIO_InitStruct.Pull = GPIO_NOPULL;
  GPIO_InitStruct.Speed = GPIO_SPEED_FREQ_LOW;
  HAL_GPIO_Init(GPIOG, &GPIO_InitStruct);

  /*Configure GPIO pins : INT_HTS_Pin BLE_INT_Pin */
  GPIO_InitStruct.Pin = INT_HTS_Pin|BLE_INT_Pin;
  GPIO_InitStruct.Mode = GPIO_MODE_IT_RISING;
  GPIO_InitStruct.Pull = GPIO_NOPULL;
  HAL_GPIO_Init(GPIOG, &GPIO_InitStruct);

  /*Configure GPIO pins : I2C4_SCL_Pin I2C4_SDA_Pin */
  GPIO_InitStruct.Pin = I2C4_SCL_Pin|I2C4_SDA_Pin;
  GPIO_InitStruct.Mode = GPIO_MODE_AF_OD;
  GPIO_InitStruct.Pull = GPIO_NOPULL;
  GPIO_InitStruct.Speed = GPIO_SPEED_FREQ_VERY_HIGH;
  GPIO_InitStruct.Alternate = GPIO_AF4_I2C4;
  HAL_GPIO_Init(GPIOD, &GPIO_InitStruct);

  /*Configure GPIO pins : ADC1_IN1_Pin ADC1_IN2_Pin uC_ADC_BATT_Pin */
  GPIO_InitStruct.Pin = ADC1_IN1_Pin|ADC1_IN2_Pin|uC_ADC_BATT_Pin;
  GPIO_InitStruct.Mode = GPIO_MODE_ANALOG_ADC_CONTROL;
  GPIO_InitStruct.Pull = GPIO_NOPULL;
  HAL_GPIO_Init(GPIOC, &GPIO_InitStruct);

  /*Configure GPIO pins : INT2_ADWB_Pin SD_DETECT_Pin */
  GPIO_InitStruct.Pin = INT2_ADWB_Pin|SD_DETECT_Pin;
  GPIO_InitStruct.Mode = GPIO_MODE_INPUT;
  GPIO_InitStruct.Pull = GPIO_NOPULL;
  HAL_GPIO_Init(GPIOB, &GPIO_InitStruct);

  /*Configure GPIO pin : CHRG_Pin */
  GPIO_InitStruct.Pin = CHRG_Pin;
  GPIO_InitStruct.Mode = GPIO_MODE_INPUT;
  GPIO_InitStruct.Pull = GPIO_NOPULL;
  HAL_GPIO_Init(CHRG_GPIO_Port, &GPIO_InitStruct);

  /*Configure GPIO pin : BUTTON_PWR_Pin */
  GPIO_InitStruct.Pin = BUTTON_PWR_Pin;
  GPIO_InitStruct.Mode = GPIO_MODE_IT_RISING;
  GPIO_InitStruct.Pull = GPIO_NOPULL;
  HAL_GPIO_Init(BUTTON_PWR_GPIO_Port, &GPIO_InitStruct);

  /*Configure GPIO pins : USART3_RX_Pin USART3_TX_Pin */
  GPIO_InitStruct.Pin = USART3_RX_Pin|USART3_TX_Pin;
  GPIO_InitStruct.Mode = GPIO_MODE_AF_PP;
  GPIO_InitStruct.Pull = GPIO_NOPULL;
  GPIO_InitStruct.Speed = GPIO_SPEED_FREQ_VERY_HIGH;
  GPIO_InitStruct.Alternate = GPIO_AF7_USART3;
  HAL_GPIO_Init(GPIOD, &GPIO_InitStruct);

  /*Configure GPIO pin : SPI2_MOSI_Pin */
  GPIO_InitStruct.Pin = SPI2_MOSI_Pin;
  GPIO_InitStruct.Mode = GPIO_MODE_AF_PP;
  GPIO_InitStruct.Pull = GPIO_NOPULL;
  GPIO_InitStruct.Speed = GPIO_SPEED_FREQ_VERY_HIGH;
  GPIO_InitStruct.Alternate = GPIO_AF5_SPI2;
  HAL_GPIO_Init(SPI2_MOSI_GPIO_Port, &GPIO_InitStruct);

  /*Configure GPIO pins : USART3_RTS_Pin USART3_CTS_Pin */
  GPIO_InitStruct.Pin = USART3_RTS_Pin|USART3_CTS_Pin;
  GPIO_InitStruct.Mode = GPIO_MODE_AF_PP;
  GPIO_InitStruct.Pull = GPIO_NOPULL;
  GPIO_InitStruct.Speed = GPIO_SPEED_FREQ_VERY_HIGH;
  GPIO_InitStruct.Alternate = GPIO_AF7_USART3;
  HAL_GPIO_Init(GPIOB, &GPIO_InitStruct);

  /*Configure GPIO pin : CS_DHC_Pin */
  GPIO_InitStruct.Pin = CS_DHC_Pin;
  GPIO_InitStruct.Mode = GPIO_MODE_OUTPUT_PP;
  GPIO_InitStruct.Pull = GPIO_NOPULL;
  GPIO_InitStruct.Speed = GPIO_SPEED_FREQ_HIGH;
  HAL_GPIO_Init(CS_DHC_GPIO_Port, &GPIO_InitStruct);

  /*Configure GPIO pin : DFSDM1_CKOUT_Pin */
  GPIO_InitStruct.Pin = DFSDM1_CKOUT_Pin;
  GPIO_InitStruct.Mode = GPIO_MODE_AF_PP;
  GPIO_InitStruct.Pull = GPIO_PULLDOWN;
  GPIO_InitStruct.Speed = GPIO_SPEED_FREQ_VERY_HIGH;
  GPIO_InitStruct.Alternate = GPIO_AF6_DFSDM1;
  HAL_GPIO_Init(DFSDM1_CKOUT_GPIO_Port, &GPIO_InitStruct);

  /*Configure GPIO pins : SPI2_MOSI_p2_Pin PB11_Pin */
  GPIO_InitStruct.Pin = SPI2_MOSI_p2_Pin|PB11_Pin;
  GPIO_InitStruct.Mode = GPIO_MODE_OUTPUT_PP;
  GPIO_InitStruct.Pull = GPIO_NOPULL;
  GPIO_InitStruct.Speed = GPIO_SPEED_FREQ_LOW;
  HAL_GPIO_Init(GPIOB, &GPIO_InitStruct);

  /*Configure GPIO pin : INT2_DH_Pin */
  GPIO_InitStruct.Pin = INT2_DH_Pin;
  GPIO_InitStruct.Mode = GPIO_MODE_IT_RISING;
  GPIO_InitStruct.Pull = GPIO_NOPULL;
  HAL_GPIO_Init(INT2_DH_GPIO_Port, &GPIO_InitStruct);

  /*Configure GPIO pin : EX_ADC_Pin */
  GPIO_InitStruct.Pin = EX_ADC_Pin;
  GPIO_InitStruct.Mode = GPIO_MODE_ANALOG_ADC_CONTROL;
  GPIO_InitStruct.Pull = GPIO_NOPULL;
  HAL_GPIO_Init(EX_ADC_GPIO_Port, &GPIO_InitStruct);

  /*Configure GPIO pin : PE12_Pin */
  GPIO_InitStruct.Pin = PE12_Pin;
  GPIO_InitStruct.Mode = GPIO_MODE_ANALOG;
  GPIO_InitStruct.Pull = GPIO_NOPULL;
  HAL_GPIO_Init(PE12_GPIO_Port, &GPIO_InitStruct);

  /* EXTI interrupt init*/
  HAL_NVIC_SetPriority(EXTI9_5_IRQn, 0, 0);
  HAL_NVIC_EnableIRQ(EXTI9_5_IRQn);

}

/* USER CODE BEGIN 4 */
int __io_putchar(int ch)
{
  uint8_t c[1];
  c[0] = ch & 0x00FF;
  HAL_UART_Transmit(&huart2, &*c, 1, 10);
  return ch;
}

/**
  * @brief  EXTI line detection callback.
  * @param  GPIO_Pin Specifies the port pin connected to corresponding EXTI line.
  * @retval None
  */
void HAL_GPIO_EXTI_Callback(uint16_t GPIO_Pin)
{
  switch(GPIO_Pin) {
  case INT_M_Pin:
    drdy = 1;
    break;
  }
}

/*
 * @brief  Write generic device register (platform dependent)
 *
 * @param  handle    customizable argument. In this examples is used in
 *                   order to select the correct sensor bus handler.
 * @param  reg       register to write
 * @param  bufp      pointer to data to write in register reg
 * @param  len       number of consecutive register to write
 *
 */
static int32_t platform_write(void *handle, uint8_t reg, const uint8_t *bufp, uint16_t len)
{
  HAL_I2C_Mem_Write(handle, IIS2MDC_I2C_ADD, reg, I2C_MEMADD_SIZE_8BIT, (uint8_t*) bufp, len, 1000);
  return 0;
}

/*
 * @brief  Read generic device register (platform dependent)
 *
 * @param  handle    customizable argument. In this examples is used in
 *                   order to select the correct sensor bus handler.
 * @param  reg       register to read
 * @param  bufp      pointer to buffer that store the data read
 * @param  len       number of consecutive register to read
 *
 */
static int32_t platform_read(void *handle, uint8_t reg, uint8_t *bufp, uint16_t len)
{
  HAL_I2C_Mem_Read(handle, IIS2MDC_I2C_ADD, reg, I2C_MEMADD_SIZE_8BIT, bufp, len, 1000);
  return 0;
}

/*
 * @brief  Initialize IIS2MDC sensor interface
 *
 * @param  No
 *
 * @return No
 *
 */
static void iis2mdc_initialize()
{
  /* Check device ID */
  whoamI = 0;

  do {
    HAL_Delay(20);
    iis2mdc_device_id_get(&dev_ctx, &whoamI);
  } while(whoamI != IIS2MDC_ID);

  /* Restore default configuration */
  iis2mdc_reset_set(&dev_ctx, PROPERTY_ENABLE);

  do {
    iis2mdc_reset_get(&dev_ctx, &rst);
  } while (rst);

  /* Enable Block Data Update */
  iis2mdc_block_data_update_set(&dev_ctx, PROPERTY_ENABLE);
  /* Set Output Data Rate */
  iis2mdc_data_rate_set(&dev_ctx, MAGNETOMETER_ODR);
  /* Set / Reset sensor mode */
  iis2mdc_set_rst_mode_set(&dev_ctx, IIS2MDC_SENS_OFF_CANC_EVERY_ODR);
  /* Enable temperature compensation */
  iis2mdc_offset_temp_comp_set(&dev_ctx, PROPERTY_ENABLE);
  /* Set device in continuous mode */
  iis2mdc_operating_mode_set(&dev_ctx, IIS2MDC_CONTINUOUS_MODE);
  /* Set data-ready signal on INT_DRDY pin */
  iis2mdc_drdy_on_pin_set(&dev_ctx, PROPERTY_ENABLE);
}

/* USER CODE END 4 */

void Error_Handler(void)
{
  __disable_irq();
  while (1)
  {
  }
}
